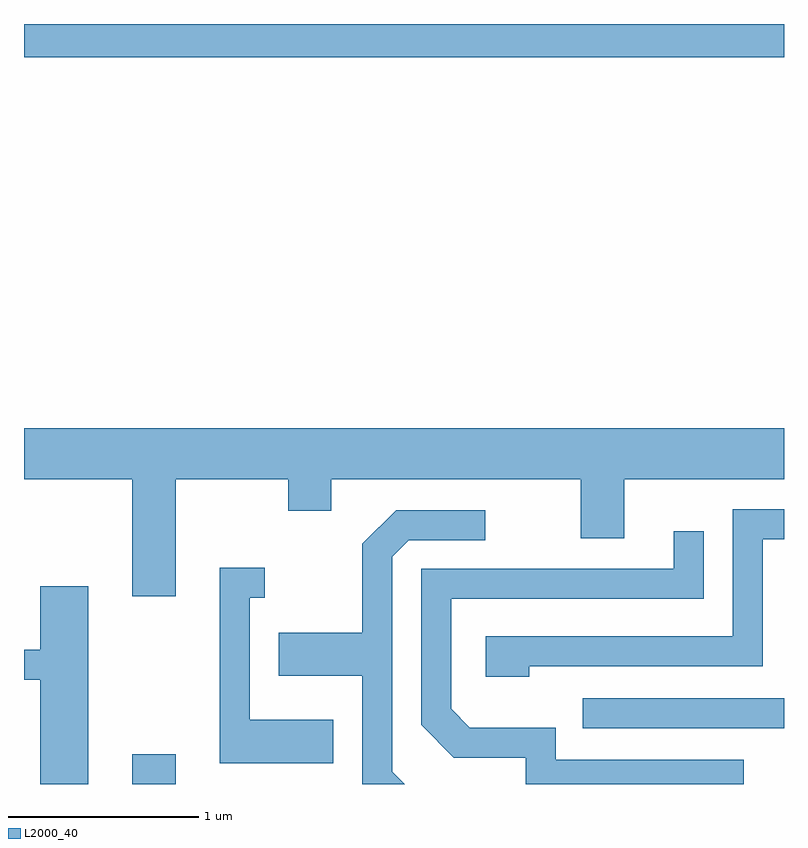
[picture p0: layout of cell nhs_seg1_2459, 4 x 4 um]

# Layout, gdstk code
import gdstk
lib = gdstk.Library(unit=1e-6, precision=1e-09)
def R(c, l, rs):  # rectangles x0, y0, x1, y1
    for r in rs: c.add(gdstk.rectangle(r[:2], r[2:], *l))
def P(c, l, *ps):  # polygons
    for p in ps: c.add(gdstk.Polygon(p, *l))
L2000_40 = (2000, 40)

nhs_seg1_2459 = lib.new_cell('nhs_seg1_2459')
R(nhs_seg1_2459, L2000_40, [(260.181,935.712,260.409,935.869), (262.553,936.006,263.611,936.164), (259.611,939.536,263.611,939.712)])
P(nhs_seg1_2459, L2000_40, [(260.409,937.316),(261.001,937.316),(261.001,937.151),(261.229,937.151),(261.229,937.316),(262.541,937.316),(262.541,937.006),(262.769,937.006),(262.769,937.316),(263.611,937.316),(263.611,937.584),(259.611,937.584),(259.611,937.316),(260.181,937.316),(260.181,936.701),(260.409,936.701)],
  [(262.269,936.331),(263.499,936.331),(263.499,937.001),(263.611,937.001),(263.611,937.159),(263.341,937.159),(263.341,936.489),(262.041,936.489),(262.041,936.276),(262.269,936.276)],
  [(261.549,935.777),(261.549,936.909),(261.637,936.996),(262.038,936.996),(262.038,937.154),(261.569,937.154),(261.391,936.977),(261.391,936.509),(260.951,936.509),(260.951,936.281),(261.391,936.281),(261.391,935.712),(261.614,935.712)],
  [(263.399,935.839),(262.409,935.839),(262.409,936.009),(261.957,936.009),(261.859,936.107),(261.859,936.686),(263.189,936.686),(263.189,937.043),(263.031,937.043),(263.031,936.844),(261.701,936.844),(261.701,936.024),(261.873,935.851),(262.251,935.851),(262.251,935.712),(263.399,935.712)],
  [(261.239,936.049),(260.799,936.049),(260.799,936.691),(260.878,936.691),(260.878,936.849),(260.641,936.849),(260.641,935.821),(261.239,935.821)],
  [(259.949,936.754),(259.696,936.754),(259.696,936.419),(259.611,936.419),(259.611,936.261),(259.696,936.261),(259.696,935.712),(259.949,935.712)])

lib.write_gds('nhs_seg1_2459.gds')
